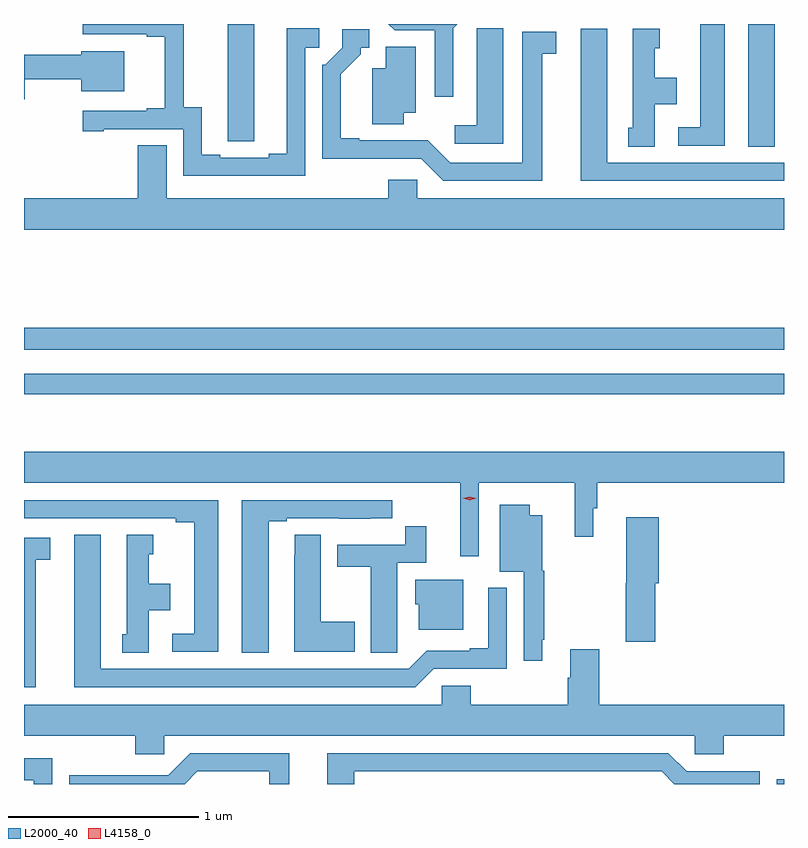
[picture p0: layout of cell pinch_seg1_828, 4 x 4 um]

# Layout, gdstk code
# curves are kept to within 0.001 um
import gdstk
lib = gdstk.Library(unit=1e-6, precision=1e-09)
def R(c, l, rs):  # rectangles x0, y0, x1, y1
    for r in rs: c.add(gdstk.rectangle(r[:2], r[2:], *l))
def P(c, l, *ps):  # polygons
    for p in ps: c.add(gdstk.Polygon(p, *l))
L2000_40 = (2000, 40)
L4158_0 = (4158, 0)

pinch_seg1_828 = lib.new_cell('pinch_seg1_828')
R(pinch_seg1_828, L2000_40, [(424.544,516.846,424.583,516.871), (420.583,518.898,424.583,519.006), (420.583,519.132,424.583,519.248), (424.394,520.201,424.534,520.846)])
P(pinch_seg1_828, L2000_40, [(422.064,520.722),(422.137,520.722),(422.137,520.823),(421.967,520.823),(421.967,520.163),(421.871,520.163),(421.871,520.143),(421.615,520.143),(421.615,520.158),(421.519,520.158),(421.519,520.409),(421.425,520.409),(421.425,520.846),(420.891,520.846),(420.891,520.791),(421.229,520.791),(421.229,520.779),(421.325,520.779),(421.325,520.402),(421.229,520.402),(421.229,520.389),(420.891,520.389),(420.891,520.281),(421.003,520.281),(421.003,520.293),(421.422,520.293),(421.422,520.047),(422.064,520.047)],
  [(424.27,520.846),(424.142,520.846),(424.142,520.302),(424.026,520.302),(424.026,520.206),(424.27,520.206)],
  [(422.841,520.824),(422.863,520.846),(422.501,520.846),(422.535,520.812),(422.745,520.812),(422.745,520.464),(422.841,520.464)],
  [(421.795,520.846),(421.655,520.846),(421.655,520.336),(421.656,520.336),(421.656,520.228),(421.795,520.228)],
  [(423.106,520.823),(422.967,520.823),(422.967,520.715),(422.966,520.715),(422.966,520.312),(422.85,520.312),(422.85,520.215),(423.106,520.215)],
  [(423.904,520.424),(424.018,520.424),(424.018,520.564),(423.904,520.564),(423.904,520.719),(423.928,520.719),(423.928,520.822),(423.788,520.822),(423.788,520.299),(423.764,520.299),(423.764,520.201),(423.904,520.201)],
  [(424.583,520.116),(423.652,520.116),(423.652,520.822),(423.512,520.822),(423.512,520.02),(424.583,520.02)],
  [(423.31,520.69),(423.385,520.69),(423.385,520.806),(423.206,520.806),(423.206,520.116),(422.826,520.116),(422.708,520.234),(422.347,520.233),(422.347,520.246),(422.251,520.246),(422.251,520.582),(422.356,520.687),(422.356,520.722),(422.401,520.722),(422.401,520.818),(422.259,520.818),(422.259,520.722),(422.169,520.632),(422.154,520.632),(422.154,520.136),(422.673,520.137),(422.79,520.02),(423.31,520.02)],
  [(422.581,520.379),(422.644,520.379),(422.644,520.727),(422.486,520.727),(422.486,520.612),(422.417,520.612),(422.417,520.318),(422.581,520.318)],
  [(420.588,520.555),(420.884,520.555),(420.884,520.493),(421.111,520.493),(421.111,520.702),(420.884,520.702),(420.884,520.684),(420.583,520.684),(420.583,520.451),(420.588,520.451)],
  [(424.583,519.928),(422.652,519.928),(422.652,520.026),(422.501,520.026),(422.501,519.928),(421.333,519.928),(421.333,520.208),(421.181,520.208),(421.181,519.928),(420.583,519.928),(420.583,519.764),(424.583,519.764)],
  [(422.976,518.432),(423.481,518.432),(423.481,518.148),(423.58,518.148),(423.58,518.298),(423.599,518.298),(423.599,518.432),(424.583,518.432),(424.583,518.596),(420.583,518.596),(420.583,518.432),(422.879,518.432),(422.879,518.046),(422.976,518.046)],
  [(421.87,518.229),(421.966,518.229),(421.966,518.244),(422.242,518.244),(422.242,518.243),(422.408,518.243),(422.408,518.244),(422.521,518.244),(422.521,518.34),(421.73,518.34),(421.73,517.537),(421.87,517.537)],
  [(421.606,518.34),(420.583,518.34),(420.583,518.244),(421.382,518.244),(421.382,518.224),(421.478,518.224),(421.478,517.638),(421.362,517.638),(421.362,517.542),(421.606,517.542)],
  [(423.31,517.606),(423.322,517.606),(423.322,517.968),(423.31,517.968),(423.31,518.26),(423.244,518.26),(423.244,518.317),(423.086,518.317),(423.086,517.964),(423.213,517.964),(423.213,517.494),(423.31,517.494)],
  [(423.905,517.902),(423.923,517.902),(423.923,518.251),(423.752,518.251),(423.752,517.902),(423.751,517.902),(423.751,517.596),(423.905,517.596)],
  [(422.547,517.648),(422.548,517.648),(422.548,518.01),(422.699,518.01),(422.699,518.203),(422.59,518.203),(422.59,518.106),(422.231,518.106),(422.231,517.99),(422.408,517.99),(422.408,517.537),(422.547,517.537)],
  [(422.323,517.701),(422.146,517.701),(422.146,518.159),(422.007,518.159),(422.007,518.051),(422.006,518.051),(422.006,517.541),(422.323,517.541)],
  [(421.24,517.76),(421.354,517.76),(421.354,517.9),(421.24,517.9),(421.24,518.055),(421.264,518.055),(421.264,518.158),(421.124,518.158),(421.124,517.635),(421.1,517.635),(421.1,517.537),(421.24,517.537)],
  [(422.739,517.452),(423.123,517.452),(423.123,517.879),(423.026,517.879),(423.026,517.561),(422.93,517.561),(422.93,517.548),(422.703,517.548),(422.607,517.452),(420.988,517.452),(420.988,518.158),(420.848,518.158),(420.848,517.356),(422.643,517.356)],
  [(420.646,518.026),(420.721,518.026),(420.721,518.142),(420.583,518.142),(420.583,517.356),(420.646,517.356)],
  [(422.896,517.921),(422.642,517.921),(422.642,517.791),(422.66,517.791),(422.66,517.658),(422.896,517.658)],
  [(421.32,517.1),(424.113,517.1),(424.113,517.002),(424.265,517.002),(424.265,517.1),(424.583,517.1),(424.583,517.264),(423.611,517.264),(423.611,517.555),(423.458,517.555),(423.458,517.406),(423.446,517.406),(423.446,517.264),(422.933,517.264),(422.933,517.362),(422.781,517.362),(422.781,517.264),(420.583,517.264),(420.583,517.1),(421.169,517.1),(421.169,517.002),(421.32,517.002)],
  [(421.494,516.912),(421.874,516.912),(421.874,516.846),(421.978,516.846),(421.978,517.008),(421.458,517.008),(421.341,516.891),(421.085,516.891),(421.085,516.893),(420.822,516.893),(420.822,516.846),(421.428,516.846)],
  [(422.32,516.912),(423.939,516.912),(424.005,516.846),(424.455,516.846),(424.455,516.912),(424.071,516.912),(423.975,517.008),(422.18,517.008),(422.18,516.846),(422.32,516.846)],
  [(420.732,516.981),(420.583,516.981),(420.583,516.865),(420.635,516.865),(420.635,516.846),(420.732,516.846)])
P(pinch_seg1_828, L4158_0, [(422.928,518.34),(422.893,518.349),(422.893,518.35),(422.893,518.35),(422.928,518.359),(422.963,518.35),(422.963,518.35),(422.963,518.349)])

lib.write_gds('pinch_seg1_828.gds')
